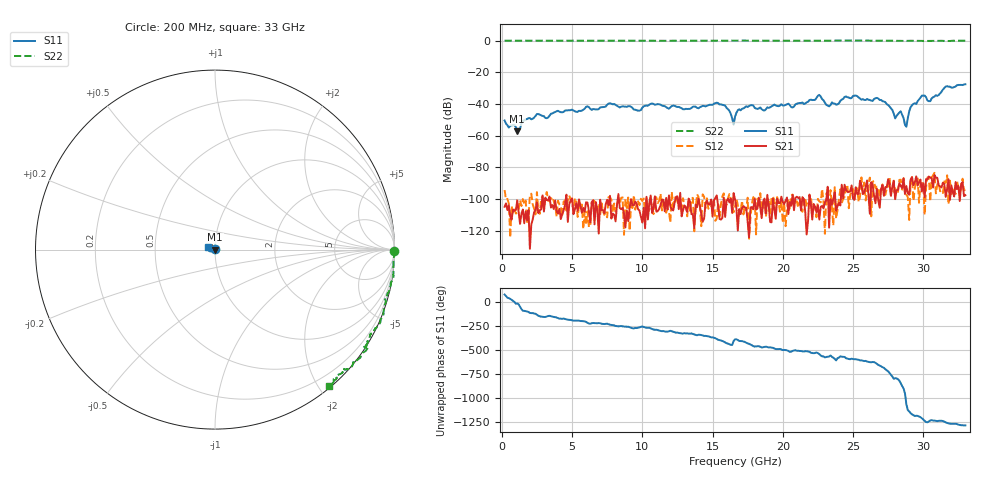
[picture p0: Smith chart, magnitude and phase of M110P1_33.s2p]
# GHZ S RI R 50
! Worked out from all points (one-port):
!   329 points, 200 MHz to 33 GHz, reference 50 ohm
!   lowest |S11| = -57.2 dB at 1.1 GHz (marker M1), VSWR 1.00, Z = 50.1 - j0.0459 ohm
!   |S11| at or under -10 dB: start of sweep to end of sweep
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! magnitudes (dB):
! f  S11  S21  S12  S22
! 200 MHz  -50.5  -105.0  -94.4  0.0
! 1.1 GHz  -57.2  -100.9  -108.9  0.0
! 2.5 GHz  -46.4  -102.2  -95.7  0.0
! 5.7 GHz  -44.2  -108.8  -103.5  0.0
! 11.2 GHz  -40.2  -106.3  -101.2  -0.1
! 15.3 GHz  -39.2  -97.8  -112.4  0.0
! 16.2 GHz  -44.4  -102.2  -96.9  0.0
! 16.5 GHz  -53.0  -96.3  -108.5  0.0
! 16.6 GHz  -48.1  -100.1  -104.9  0.1
! 17.7 GHz  -40.9  -105.4  -112.5  0.0
! 22.1 GHz  -37.6  -113.1  -105.8  0.0
! 22.6 GHz  -34.3  -113.1  -101.6  -0.1
! 23.3 GHz  -41.6  -118.2  -105.6  0.0
! 25.2 GHz  -34.7  -92.7  -92.9  0.1
! 27.6 GHz  -41.6  -90.6  -86.5  0.0
! 28 GHz  -49.1  -100.2  -93.3  -0.1
! 28.4 GHz  -44.7  -92.0  -87.9  -0.1
! 28.8 GHz  -54.4  -91.9  -97.3  -0.2
! 29.1 GHz  -42.1  -87.8  -88.9  -0.1
! 29.9 GHz  -34.8  -95.4  -90.1  -0.2
! 30.5 GHz  -38.3  -86.4  -101.6  -0.1
! 33 GHz  -27.6  -97.7  -94.3  -0.1
